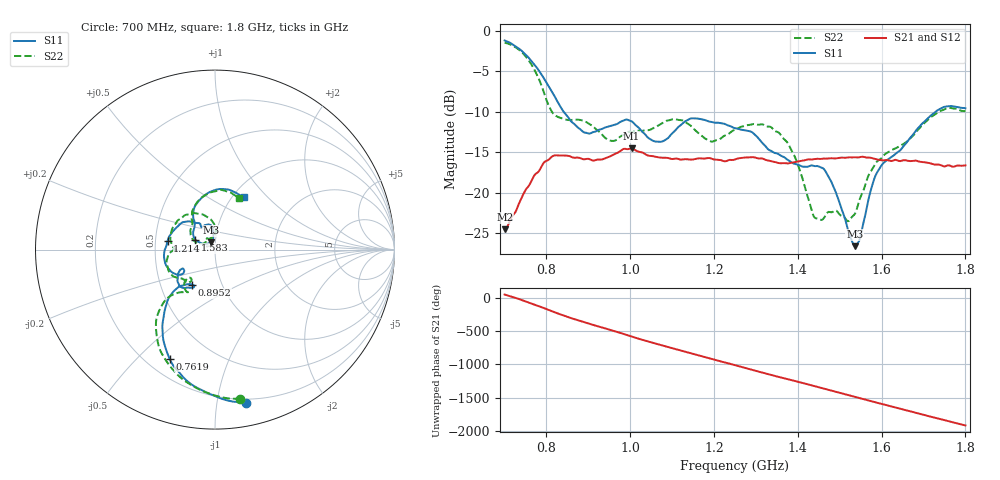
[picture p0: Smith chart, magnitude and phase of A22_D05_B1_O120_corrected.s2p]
! Created with skrf 1.9.0 (http://scikit-rf.org).
# Hz S RI R 50.0
!freq ReS11 ImS11 ReS21 ImS21 ReS12 ImS12 ReS22 ImS22
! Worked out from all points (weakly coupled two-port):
!   1601 points, 700 MHz to 1.8 GHz, reference 50 ohm
!   highest |S21| = -14.54 dB at 1.003 GHz (marker M1); lowest = -24.5 dB at 700.7 MHz (marker M2)
!   lowest |S11| = -26.6 dB at 1.536 GHz (marker M3), VSWR 1.10, Z = 47.7 + j3.95 ohm
!   |S11| at or under -10 dB: 840.7 MHz to 1.729 GHz (888.3 MHz wide, 69.1 % of centre)
!   |S22| runs from -23.5 to -1.5 dB; largest |S21 - S12| = 0.0034
!   S11 on the Smith chart (normalised r, x): 700 MHz: 0.17, -1.21; 761.9 MHz: 0.29, -0.63; 895.2 MHz: 0.72, -0.30; 1.214 GHz: 0.58, +0.06; 1.583 GHz: 0.80, +0.09; 1.8 GHz: 1.12, +0.74
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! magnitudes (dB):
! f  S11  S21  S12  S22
! 700 MHz  -1.2  -24.5  -24.3  -1.5
! 700.7 MHz  -1.2  -24.5  -24.2  -1.5
! 761.9 MHz  -3.6  -18.8  -18.7  -4.0
! 816.9 MHz  -7.9  -15.4  -15.5  -10.3
! 883.6 MHz  -12.3  -15.8  -15.7  -11.1
! 895.2 MHz  -12.6  -15.8  -15.9  -11.3
! 953 MHz  -11.8  -15.5  -15.5  -13.6
! 1.003 GHz  -11.2  -14.5  -14.7  -12.5
! 1.067 GHz  -13.7  -15.6  -15.6  -11.7
! 1.143 GHz  -10.9  -15.9  -15.9  -11.7
! 1.214 GHz  -11.4  -16.0  -16.0  -13.4
! 1.25 GHz  -12.0  -15.9  -15.8  -12.3
! 1.357 GHz  -15.4  -16.4  -16.3  -12.7
! 1.394 GHz  -16.5  -16.2  -16.2  -15.8
! 1.434 GHz  -16.6  -15.9  -15.9  -22.3
! 1.476 GHz  -18.2  -15.8  -15.8  -22.4
! 1.536 GHz  -26.6  -15.6  -15.7  -22.6
! 1.548 GHz  -25.6  -15.6  -15.6  -20.7
! 1.583 GHz  -18.3  -15.8  -15.8  -16.6
! 1.617 GHz  -15.8  -16.0  -16.0  -15.0
! 1.733 GHz  -9.8  -16.5  -16.6  -10.1
! 1.8 GHz  -9.6  -16.6  -16.6  -10.0
